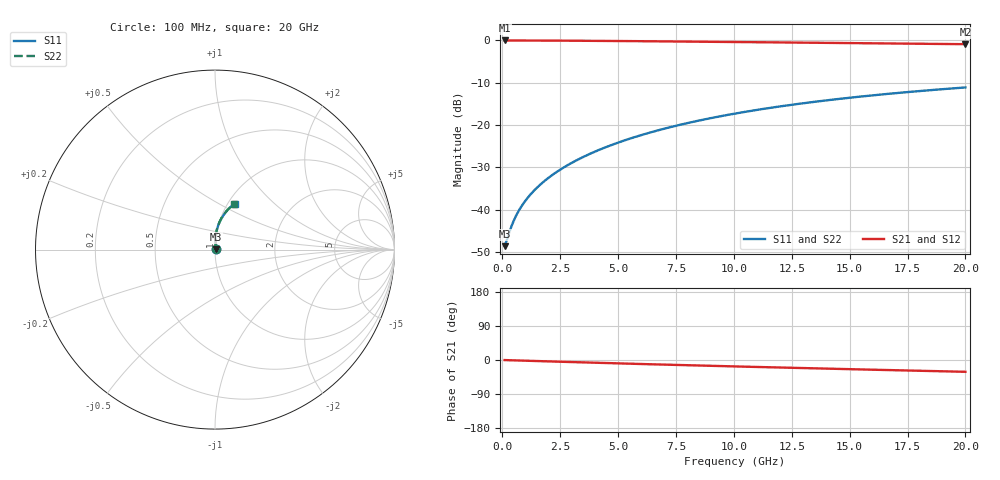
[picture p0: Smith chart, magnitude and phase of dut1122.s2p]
! Touchstone file exported from HFSS 2024.1.0
!  File:  C:/UserFiles/LocalFiles/RDL_TSV_Batchsim/temp_RDL_bottom_1122_1780054892.aedt
!  Generated:  07:43:57 PM May 29, 2026
!  Design:  RDL_bottom
!  Project:  temp_RDL_bottom_1122_1780054892
!  Setup:  Setup1
!  Solution:  Sweep
! Variables:
!  dtsv = 10.80580581um
!  hbump = 3um
!  htsv = 73.31um
!  ldown = 436.94um
!  lrdl = 100um
!  p = 40
!  p1 = 46.99um
!  rhole = 1um
!  t = 450um
!  tdown = 2um
!  trdl = 3.915915916um
!  wdown = 25.33um
!  wrdl = 20um
# GHz S MA R 50.000000
! Terminal data exported
! Port[1] = RDL1_T1
! Port[2] = RDL1_T2
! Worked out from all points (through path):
!   200 points, 100 MHz to 20 GHz, reference 50 ohm
!   highest |S21| = -0.03 dB at 100 MHz (marker M1); lowest = -0.9 dB at 20 GHz (marker M2)
!   group delay of S21, straight-line fit = 4.28 ps
!   lowest |S11| = -48.6 dB at 100 MHz (marker M3), VSWR 1.01, Z = 50.3 + j0.136 ohm
!   |S11| at or under -10 dB: start of sweep to end of sweep
!   |S22| runs from -48.6 to -11.1 dB; largest |S21 - S12| = 3e-15
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0.1  0.003717 21.3  0.9965 -0.2  0.9965 -0.2  0.003717 21.3
! Gamma 0 0 0 0
! Port Impedance 50 0 50 0
0.4  0.006426 53.8  0.9961 -0.8  0.9961 -0.8  0.006426 53.8
0.5  0.007488 58.4  0.9959 -1.0  0.9959 -1.0  0.007488 58.4
0.6  0.008554 61.9  0.9957 -1.1  0.9957 -1.1  0.008553 61.9
0.7  0.009617 64.6  0.9955 -1.3  0.9955 -1.3  0.009616 64.6
0.9  0.01174 68.8  0.9951 -1.7  0.9951 -1.7  0.01174 68.8
1.2  0.01496 73.2  0.9945 -2.2  0.9945 -2.2  0.01496 73.2
1.4  0.01714 75.4  0.9941 -2.6  0.9941 -2.6  0.01714 75.4
1.7  0.02048 77.9  0.9935 -3.1  0.9935 -3.1  0.02048 78.0
2.2  0.02621 81.0  0.9922 -4.0  0.9922 -4.0  0.02621 81.0
2.8  0.03336 83.3  0.9904 -5.1  0.9904 -5.1  0.03337 83.4
3.5  0.04207 85.0  0.988 -6.3  0.988 -6.3  0.04209 85.1
4.2  0.05117 86.0  0.9851 -7.6  0.9851 -7.6  0.05119 86.1
5  0.06199 86.5  0.9816 -8.9  0.9816 -8.9  0.06203 86.6
5.9  0.07464 86.5  0.9772 -10.4  0.9772 -10.4  0.07471 86.6
6.8  0.0877 86.0  0.9726 -11.9  0.9726 -11.9  0.08779 86.1
8.4  0.1116 84.5  0.9642 -14.4  0.9642 -14.4  0.1117 84.6
10.1  0.1373 82.3  0.955 -17.0  0.955 -17.0  0.1375 82.4
11.7  0.1615 79.9  0.9462 -19.4  0.9462 -19.4  0.1618 80.0
13.4  0.1868 77.3  0.9369 -21.9  0.9369 -21.9  0.1872 77.4
16.7  0.234 72.0  0.9188 -26.6  0.9188 -26.6  0.2344 72.2
20  0.2779 66.9  0.9006 -31.1  0.9006 -31.1  0.2785 67.1
